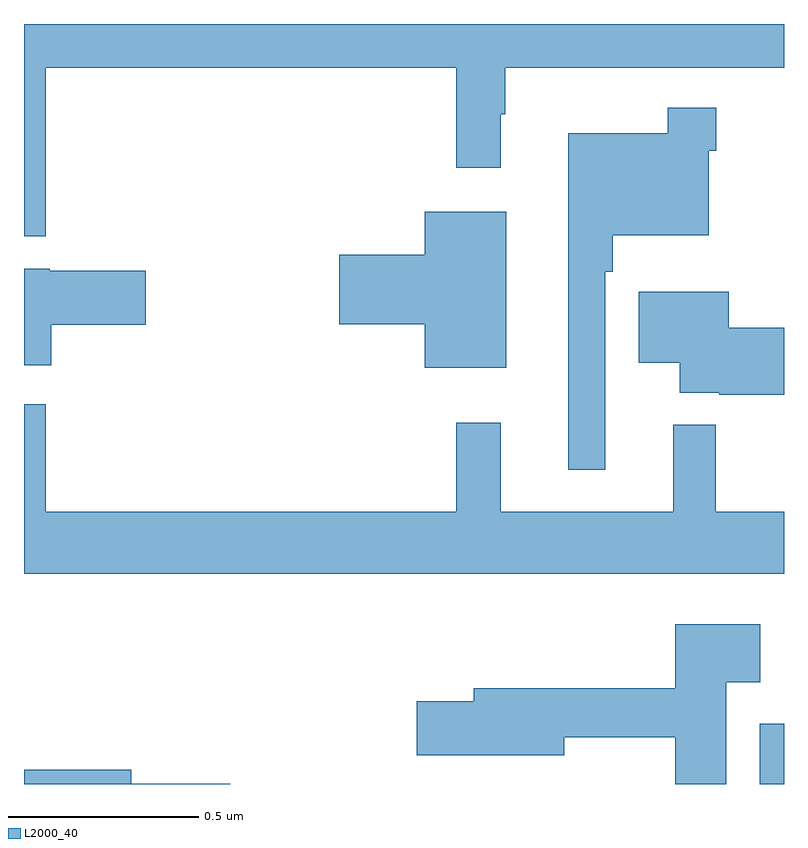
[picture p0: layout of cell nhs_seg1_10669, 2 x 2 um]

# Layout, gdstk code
import gdstk
lib = gdstk.Library(unit=1e-6, precision=1e-09)
def R(c, l, rs):  # rectangles x0, y0, x1, y1
    for r in rs: c.add(gdstk.rectangle(r[:2], r[2:], *l))
def P(c, l, *ps):  # polygons
    for p in ps: c.add(gdstk.Polygon(p, *l))
L2000_40 = (2000, 40)

nhs_seg1_10669 = lib.new_cell('nhs_seg1_10669')
R(nhs_seg1_10669, L2000_40, [(245.936,531.199,246,531.358)])
P(nhs_seg1_10669, L2000_40, [(244.057,533.084),(245.137,533.084),(245.137,532.821),(245.254,532.821),(245.254,532.961),(245.266,532.961),(245.266,533.084),(246,533.084),(246,533.199),(244,533.199),(244,532.64),(244.057,532.64)],
  [(245.529,532.547),(245.549,532.547),(245.549,532.643),(245.802,532.643),(245.802,532.865),(245.822,532.865),(245.822,532.978),(245.694,532.978),(245.694,532.912),(245.432,532.912),(245.432,532.026),(245.529,532.026)],
  [(245.269,532.705),(245.054,532.705),(245.054,532.592),(244.83,532.592),(244.83,532.409),(245.054,532.409),(245.054,532.295),(245.269,532.295)],
  [(244.072,532.408),(244.321,532.408),(244.321,532.55),(244.068,532.55),(244.068,532.555),(244,532.555),(244,532.301),(244.072,532.301)],
  [(246,532.4),(245.854,532.4),(245.854,532.495),(245.618,532.495),(245.618,532.307),(245.726,532.307),(245.726,532.229),(245.83,532.229),(245.83,532.224),(246,532.224)],
  [(246,531.916),(245.82,531.916),(245.82,532.144),(245.708,532.144),(245.708,531.916),(245.255,531.916),(245.255,532.15),(245.137,532.15),(245.137,531.916),(244.057,531.916),(244.057,532.198),(244,532.198),(244,531.752),(246,531.752)],
  [(245.848,531.467),(245.938,531.467),(245.938,531.619),(245.714,531.619),(245.714,531.451),(245.183,531.451),(245.183,531.417),(245.034,531.417),(245.034,531.275),(245.422,531.275),(245.422,531.322),(245.714,531.322),(245.714,531.199),(245.848,531.199)],
  [(244.543,531.2),(244.282,531.2),(244.282,531.236),(244,531.236),(244,531.199),(244.543,531.199)])

lib.write_gds('nhs_seg1_10669.gds')
